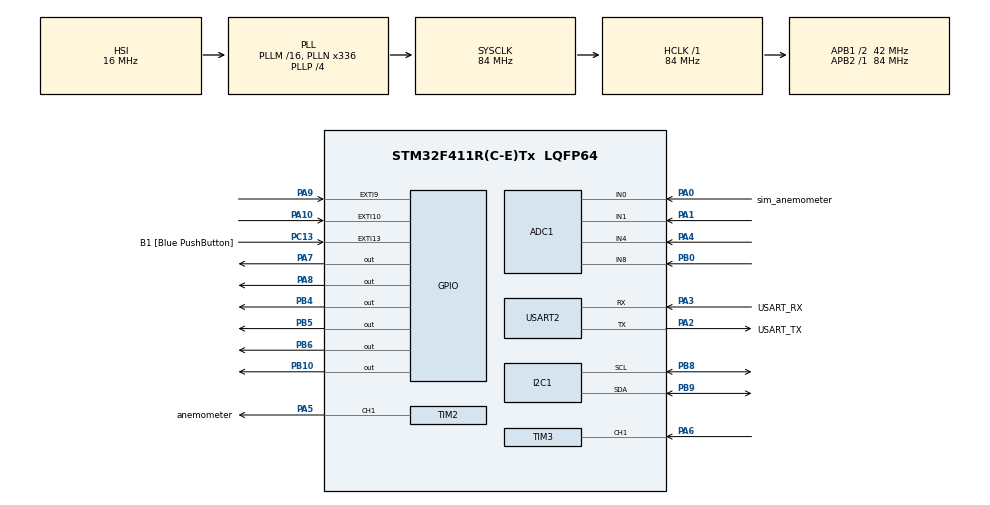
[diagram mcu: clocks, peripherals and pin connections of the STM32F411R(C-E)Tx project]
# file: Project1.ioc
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ADC1.Channel-0\#ChannelRegularConversion=ADC_CHANNEL_0
ADC1.Channel-1\#ChannelRegularConversion=ADC_CHANNEL_1
ADC1.Channel-2\#ChannelRegularConversion=ADC_CHANNEL_4
ADC1.Channel-3\#ChannelRegularConversion=ADC_CHANNEL_8
ADC1.ContinuousConvMode=ENABLE
ADC1.DMAContinuousRequests=ENABLE
ADC1.NbrOfConversion=4
ADC1.NbrOfConversionFlag=1
ADC1.Rank-0\#ChannelRegularConversion=1
ADC1.Rank-1\#ChannelRegularConversion=2
ADC1.Rank-2\#ChannelRegularConversion=3
ADC1.Rank-3\#ChannelRegularConversion=4
ADC1.SamplingTime-0\#ChannelRegularConversion=ADC_SAMPLETIME_3CYCLES
ADC1.SamplingTime-1\#ChannelRegularConversion=ADC_SAMPLETIME_3CYCLES
ADC1.SamplingTime-2\#ChannelRegularConversion=ADC_SAMPLETIME_3CYCLES
ADC1.SamplingTime-3\#ChannelRegularConversion=ADC_SAMPLETIME_3CYCLES
ADC1.ScanConvMode=ENABLE
ADC1.master=1
Dma.ADC1.0.Direction=DMA_PERIPH_TO_MEMORY
Dma.ADC1.0.FIFOMode=DMA_FIFOMODE_DISABLE
Dma.ADC1.0.Instance=DMA2_Stream0
Dma.ADC1.0.MemDataAlignment=DMA_MDATAALIGN_WORD
Dma.ADC1.0.MemInc=DMA_MINC_ENABLE
Dma.ADC1.0.Mode=DMA_CIRCULAR
Dma.ADC1.0.PeriphDataAlignment=DMA_PDATAALIGN_WORD
Dma.ADC1.0.PeriphInc=DMA_PINC_DISABLE
Dma.ADC1.0.Priority=DMA_PRIORITY_LOW
Dma.Request0=ADC1
Mcu.Family=STM32F4
Mcu.Name=STM32F411R(C-E)Tx
Mcu.Package=LQFP64
NVIC.ADC_IRQn=true\:0\:0\:false\:false\:true\:true\:true
NVIC.DMA2_Stream0_IRQn=true\:0\:0\:false\:false\:true\:false\:true
NVIC.EXTI15_10_IRQn=true\:0\:0\:false\:false\:true\:true\:true
NVIC.EXTI9_5_IRQn=true\:0\:0\:false\:false\:true\:true\:true
NVIC.I2C1_ER_IRQn=true\:0\:0\:false\:false\:true\:true\:true
NVIC.I2C1_EV_IRQn=true\:0\:0\:false\:false\:true\:true\:true
NVIC.PriorityGroup=NVIC_PRIORITYGROUP_0
NVIC.TIM2_IRQn=true\:0\:0\:false\:false\:true\:true\:true
NVIC.TIM3_IRQn=true\:0\:0\:false\:false\:true\:true\:true
PA0-WKUP.GPIO_Label=sim_anemometer
PA0-WKUP.Signal=ADCx_IN0
PA1.Signal=ADCx_IN1
PA10.Signal=GPXTI10
PA13.GPIO_Label=TMS
PA13.Mode=Serial_Wire
PA13.Signal=SYS_JTMS-SWDIO
PA14.GPIO_Label=TCK
PA14.Mode=Serial_Wire
PA14.Signal=SYS_JTCK-SWCLK
PA2.GPIO_Label=USART_TX
PA2.Mode=Asynchronous
PA2.Signal=USART2_TX
PA3.GPIO_Label=USART_RX
PA3.Mode=Asynchronous
PA3.Signal=USART2_RX
PA4.Signal=ADCx_IN4
PA5.GPIO_Label=anemometer
PA5.Signal=S_TIM2_CH1_ETR
PA6.Signal=S_TIM3_CH1
PA7.Signal=GPIO_Output
PA8.Signal=GPIO_Output
PA9.Signal=GPXTI9
PB0.Signal=ADCx_IN8
PB10.Signal=GPIO_Output
PB3.GPIO_Label=SWO
PB3.Signal=SYS_JTDO-SWO
PB4.Signal=GPIO_Output
PB5.Signal=GPIO_Output
PB6.Signal=GPIO_Output
PB8.Mode=I2C
PB8.Signal=I2C1_SCL
PB9.Mode=I2C
PB9.Signal=I2C1_SDA
PC13-ANTI_TAMP.GPIO_Label=B1 [Blue PushButton]
PC13-ANTI_TAMP.GPIO_ModeDefaultEXTI=GPIO_MODE_IT_FALLING
PC13-ANTI_TAMP.Signal=GPXTI13
PC14-OSC32_IN.Mode=LSE-External-Oscillator
PC14-OSC32_IN.Signal=RCC_OSC32_IN
PC15-OSC32_OUT.Mode=LSE-External-Oscillator
PC15-OSC32_OUT.Signal=RCC_OSC32_OUT
PH0\ -\ OSC_IN.Mode=HSE-External-Clock-Source
PH0\ -\ OSC_IN.Signal=RCC_OSC_IN
PH1\ -\ OSC_OUT.Mode=HSE-External-Clock-Source
PH1\ -\ OSC_OUT.Signal=RCC_OSC_OUT
ProjectManager.HeapSize=0x200
ProjectManager.StackSize=0x400
ProjectManager.TargetToolchain=Makefile
RCC.48MHZClocksFreq_Value=84000000
RCC.AHBFreq_Value=84000000
RCC.APB1CLKDivider=RCC_HCLK_DIV2
RCC.APB1Freq_Value=42000000
RCC.APB1TimFreq_Value=84000000
RCC.APB2Freq_Value=84000000
RCC.APB2TimFreq_Value=84000000
RCC.CortexFreq_Value=84000000
RCC.FLatency-AdvancedSettings=FLASH_LATENCY_2
RCC.HCLKFreq_Value=84000000
RCC.HSE_VALUE=8000000
RCC.HSI_VALUE=16000000
RCC.PLLN=336
RCC.PLLP=RCC_PLLP_DIV4
RCC.SYSCLKFreq_VALUE=84000000
RCC.SYSCLKSource=RCC_SYSCLKSOURCE_PLLCLK
RCC.VCOOutputFreq_Value=336000000
SH.ADCx_IN0.0=ADC1_IN0,IN0
SH.ADCx_IN1.0=ADC1_IN1,IN1
SH.ADCx_IN4.0=ADC1_IN4,IN4
SH.ADCx_IN8.0=ADC1_IN8,IN8
SH.S_TIM2_CH1_ETR.0=TIM2_CH1,PWM Generation1 CH1
SH.S_TIM3_CH1.0=TIM3_CH1,Input_Capture1_from_TI1
TIM2.Channel-PWM\ Generation1\ CH1=TIM_CHANNEL_1
TIM2.OCMode_PWM-PWM\ Generation1\ CH1=TIM_OCMODE_PWM1
TIM2.Period=2999
TIM2.Prescaler=1119
TIM2.Pulse-PWM\ Generation1\ CH1=75
TIM3.Channel-Input_Capture1_from_TI1=TIM_CHANNEL_1
USART2.VirtualMode=VM_ASYNC
board=NUCLEO-F411RE

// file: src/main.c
/* USER CODE BEGIN Header */
/**
  ******************************************************************************
  * @file           : main.c
  * @brief          : Main program body
  ******************************************************************************
  * @attention
  *
  * <h2><center>&copy; Copyright (c) 2020 STMicroelectronics.
  * All rights reserved.</center></h2>
  *
  * This software component is licensed by ST under BSD 3-Clause license,
  * the "License"; You may not use this file except in compliance with the
  * License. You may obtain a copy of the License at:
  *                        opensource.org/licenses/BSD-3-Clause
  *
  ******************************************************************************
  */
/* USER CODE END Header */

#include "main.h"
#include "rgb_lcd.h"
#include <string.h>
#include <stdlib.h>
#include <stdio.h>
#define THRESHOLD_TEMPERATURE 20
#define THRESHOLD_WIND 90
#define THRESHOLD_NOISE 60

#define MAX_ANGLE 1024
#define RGB (0x62<<1)
#define LCD (0x3E<<1)

ADC_HandleTypeDef hadc1;
DMA_HandleTypeDef hdma_adc1;

I2C_HandleTypeDef hi2c1;

TIM_HandleTypeDef htim2;
TIM_HandleTypeDef htim3;

UART_HandleTypeDef huart2;

/* USER CODE BEGIN PV */

int rain=0;
int onda=1 , status = 0 ;
long val1,val2,valortotal;
uint32_t adc[4], buffer[4];
int temperature,brightness,sound,speed;
float vsense = 5/4095;
/* USER CODE END PV */

void SystemClock_Config(void);
static void MX_GPIO_Init(void);
static void MX_DMA_Init(void);
static void MX_ADC1_Init(void);
static void MX_TIM2_Init(void);
static void MX_USART2_UART_Init(void);
static void MX_TIM3_Init(void);
static void MX_I2C1_Init(void);

/* USER CODE BEGIN 0 */
//codigo para el lcd
unsigned char _displayfunction;
unsigned char _displaycontrol;

/*This function is used to turn on the display on the LCD.  It sends the
hexadecimal code for the display on setting to the device in order to
turn on the display*/

void displayOn()
{
    _displaycontrol |= LCD_DISPLAYON;
    sendCommand(LCD_DISPLAYCONTROL | _displaycontrol);
}

/*This function is used to clear display on the LCD.  It sends the
hexadecimal code for the clear instruction to the device in order to
clear the display*/
void clear()
{
    sendCommand(LCD_CLEARDISPLAY);
    HAL_Delay(20);
}

/*This function is used to set the backlight color of the dispaly.
It writes the provided r, g, and b values to the registers for the red
value, the green value, and the blue value respectively.*/
void setRGB(unsigned char r, unsigned char g, unsigned char b)
{

    setReg(REG_RED, r);
    setReg(REG_GREEN, g);
    setReg(REG_BLUE, b);

}

/*This function is used to write to one of the registers for the backlight
of the LCD display.  The function takes in the address of which register to
write to and the value to be written to that register and then sends it to the
LCD display via the mbed I2C library*/
void setReg(unsigned char addr,unsigned char val)
{
    char data[2];
    data[0] = addr;
    data[1] = val;
    HAL_I2C_Master_Transmit(&hi2c1,RGB,&data,sizeof(data),100);
}

/*This function is used to write to the LCD screen.  It takes in a string of
characters and writes them to the 0x40 register of the display.*/
void print(char *str)
{
    char data[2];
    data[0] = 0x40;
    while(*str)
    {
      data[1] = *str;
      HAL_I2C_Master_Transmit(&hi2c1,LCD,&data,sizeof(data),100);
      str++;

    }

}

/*This function sets where on the screen the text will be written next.  It
takes in two values which indicate the row and column on the display that
the cursor should be moved to*/
void locate(char col, char row)
{
    if(row == 0)
    {
        col = col | 0x80;
    }
    else
    {
        col = col | 0xc0;
    }

    char data[2];
    data[0] = 0x80;
    data[1] = col;
    HAL_I2C_Master_Transmit(&hi2c1,LCD,&data,sizeof(data),100);
}

/*This function sends an instruction to the LCD display using the
 built in instruction codes from the device  datasheet using the mbed
 I2C library*/
void sendCommand(char value)
{
    char data[2] = {0x80, value};
    HAL_I2C_Master_Transmit(&hi2c1,LCD,&data,sizeof(data),100);
}

void init()
{
    //Initialize displayfunction parameter for setting up LCD display
   _displayfunction |= LCD_2LINE;
   _displayfunction |= LCD_5x10DOTS;

   //Wait for more than 30 ms after power rises above 4.5V per the data sheet
    HAL_Delay(5);

    // Send first function set command. Wait longer that 39 us per the data sheet
    sendCommand(LCD_FUNCTIONSET | _displayfunction);
    HAL_Delay(5);

    // turn the display on
    displayOn();

    // clear the display
    clear();

    // Initialize backlight
    setReg(0, 0);
    setReg(1, 0);
    setReg(0x08, 0xAA);

}
/* USER CODE END 0 */

int main(void)
{

  /* MCU Configuration--------------------------------------------------------*/

  /* Reset of all peripherals, Initializes the Flash interface and the Systick. */
  HAL_Init();

  /* Configure the system clock */
  SystemClock_Config();

  /* Initialize all configured peripherals */
  MX_GPIO_Init();
  MX_DMA_Init();
  MX_ADC1_Init();
  MX_TIM2_Init();
  MX_USART2_UART_Init();
  MX_TIM3_Init();
  MX_I2C1_Init();

  /* Infinite loop */

  HAL_TIM_PWM_Start(&htim2, TIM_CHANNEL_1);
  val2=htim3.Init.Period;

  init();
  setRGB(255,255,255);

  encederLeds(status); // transmitimos al lcd
  while (1)
  {
    HAL_ADC_Start_DMA(&hadc1, buffer, 4);
    HAL_TIM_IC_Start_IT(&htim3, TIM_CHANNEL_1);
    printf("ADC_VALUE es %d\n\r", adc[2]);
    printf("val1 %d\n\r", val1);
    printf("val2 %d\n\r", val2);
    printf("El valortotal es %d\n",valortotal);
    printf("Luminosidad %d\n\r", brightness);

    printf("Temperatura %d\n\r", temperature);
    printf("Sonido %d\n\r", sound);
    printf("Velocidad %d \n\r", speed);
    printf("\n");
    clear();
    imprimir_Lcd();
    HAL_NVIC_EnableIRQ(EXTI15_10_IRQn);
    HAL_Delay(5000);

    status=next_state();
    encederLeds(status);
  }
}

/*Esta función se utiliza para mostrar todas los datos
en el LCD, de 16x2*/
void imprimir_Lcd(){
  init();
  volatile char v[7] = "xV:";
  volatile char t[5]="xT:";
  volatile char s[7]="xS:";
  volatile char l[9]="xL:";

  char array[3];
  char arrayT[2];
  char arrayS[3];
  char arrayL[3];
  int numerosV=2;
  int numerosT= 0;
  int numerosS= 2;
  int numerosL=4;
  if (speed<10)
  numerosV=3;
  if (speed>99)
  numerosV = 1;
  if (temperature>=0 && temperature<10)
  numerosT=1;
  if (sound<10)
  numerosS=3;
  if (sound>99)
  numerosS = 1;
  if (brightness<10)
  numerosL=5;
  if (brightness>99)
  numerosL= 3;
  if (brightness>999)
  numerosL=2;
  if (brightness>9999)
  numerosL=1;
  locate(0,0);
  strcat(v, itoa(speed, array, 10));
  HAL_I2C_Master_Transmit(&hi2c1,LCD,v,sizeof(v)-numerosV,100);
  locate(6,0);
  strcat(t, itoa(temperature, arrayT, 10));
  HAL_I2C_Master_Transmit(&hi2c1,LCD,t,sizeof(t)-numerosT,100);
  locate(11,0);
  strcat(s, itoa(sound, arrayT, 10));
  HAL_I2C_Master_Transmit(&hi2c1,LCD,s,sizeof(s)-numerosS,100);
  locate(0,1);
  strcat(l, itoa(brightness, arrayL, 10));
  HAL_I2C_Master_Transmit(&hi2c1,LCD,l,sizeof(l)-numerosL,100);
  locate(9,1);
  strcat(l, itoa(brightness, arrayL, 10));
  if (rain!=1){
  volatile char p[9]="xLluv:No";
  HAL_I2C_Master_Transmit(&hi2c1,LCD,p,sizeof(p)-1,100);
  }
  else{
  volatile char p[9]="xLluv:Si";
  HAL_I2C_Master_Transmit(&hi2c1,LCD,p,sizeof(p)-1,100);
  rain=0;
  }

}

void SystemClock_Config(void)
{
  RCC_OscInitTypeDef RCC_OscInitStruct = {0};
  RCC_ClkInitTypeDef RCC_ClkInitStruct = {0};

  /** Configure the main internal regulator output voltage
  */
  __HAL_RCC_PWR_CLK_ENABLE();
  __HAL_PWR_VOLTAGESCALING_CONFIG(PWR_REGULATOR_VOLTAGE_SCALE1);
  /** Initializes the CPU, AHB and APB busses clocks
  */
  RCC_OscInitStruct.OscillatorType = RCC_OSCILLATORTYPE_HSI;
  RCC_OscInitStruct.HSIState = RCC_HSI_ON;
  RCC_OscInitStruct.HSICalibrationValue = RCC_HSICALIBRATION_DEFAULT;
  RCC_OscInitStruct.PLL.PLLState = RCC_PLL_ON;
  RCC_OscInitStruct.PLL.PLLSource = RCC_PLLSOURCE_HSI;
  RCC_OscInitStruct.PLL.PLLM = 16;
  RCC_OscInitStruct.PLL.PLLN = 336;
  RCC_OscInitStruct.PLL.PLLP = RCC_PLLP_DIV4;
  RCC_OscInitStruct.PLL.PLLQ = 4;
  if (HAL_RCC_OscConfig(&RCC_OscInitStruct) != HAL_OK)
  {
    Error_Handler();
  }
  /** Initializes the CPU, AHB and APB busses clocks
  */
  RCC_ClkInitStruct.ClockType = RCC_CLOCKTYPE_HCLK|RCC_CLOCKTYPE_SYSCLK
                              |RCC_CLOCKTYPE_PCLK1|RCC_CLOCKTYPE_PCLK2;
  RCC_ClkInitStruct.SYSCLKSource = RCC_SYSCLKSOURCE_PLLCLK;
  RCC_ClkInitStruct.AHBCLKDivider = RCC_SYSCLK_DIV1;
  RCC_ClkInitStruct.APB1CLKDivider = RCC_HCLK_DIV2;
  RCC_ClkInitStruct.APB2CLKDivider = RCC_HCLK_DIV1;

  if (HAL_RCC_ClockConfig(&RCC_ClkInitStruct, FLASH_LATENCY_2) != HAL_OK)
  {
    Error_Handler();
  }
}

static void MX_ADC1_Init(void)
{

  ADC_ChannelConfTypeDef sConfig = {0};

  /** Configure the global features of the ADC (Clock, Resolution, Data Alignment and number of conversion)
  */
  hadc1.Instance = ADC1;
  hadc1.Init.ClockPrescaler = ADC_CLOCK_SYNC_PCLK_DIV4;
  hadc1.Init.Resolution = ADC_RESOLUTION_10B;
  hadc1.Init.ScanConvMode = ENABLE;
  hadc1.Init.ContinuousConvMode = ENABLE;
  hadc1.Init.DiscontinuousConvMode = DISABLE;
  hadc1.Init.ExternalTrigConvEdge = ADC_EXTERNALTRIGCONVEDGE_NONE;
  hadc1.Init.ExternalTrigConv = ADC_SOFTWARE_START;
  hadc1.Init.DataAlign = ADC_DATAALIGN_RIGHT;
  hadc1.Init.NbrOfConversion = 4;
  hadc1.Init.DMAContinuousRequests = ENABLE;
  hadc1.Init.EOCSelection = ADC_EOC_SINGLE_CONV;
  if (HAL_ADC_Init(&hadc1) != HAL_OK)
  {
    Error_Handler();
  }
  /** Configure for the selected ADC regular channel its corresponding rank in the sequencer and its sample time.
  */
  sConfig.Channel = ADC_CHANNEL_0;
  sConfig.Rank = 1;
  sConfig.SamplingTime = ADC_SAMPLETIME_480CYCLES;
  if (HAL_ADC_ConfigChannel(&hadc1, &sConfig) != HAL_OK)
  {
    Error_Handler();
  }
  /** Configure for the selected ADC regular channel its corresponding rank in the sequencer and its sample time.
  */
  sConfig.Channel = ADC_CHANNEL_1;
  sConfig.Rank = 2;
  if (HAL_ADC_ConfigChannel(&hadc1, &sConfig) != HAL_OK)
  {
    Error_Handler();
  }
  /** Configure for the selected ADC regular channel its corresponding rank in the sequencer and its sample time.
  */
  sConfig.Channel = ADC_CHANNEL_4;
  sConfig.Rank = 3;
  if (HAL_ADC_ConfigChannel(&hadc1, &sConfig) != HAL_OK)
  {
    Error_Handler();
  }
  /** Configure for the selected ADC regular channel its corresponding rank in the sequencer and its sample time.
  */
  sConfig.Channel = ADC_CHANNEL_8;
  sConfig.Rank = 4;
  if (HAL_ADC_ConfigChannel(&hadc1, &sConfig) != HAL_OK)
  {
    Error_Handler();
  }

}

static void MX_I2C1_Init(void)
{

  hi2c1.Instance = I2C1;
  hi2c1.Init.ClockSpeed = 100000;
  hi2c1.Init.DutyCycle = I2C_DUTYCYCLE_2;
  hi2c1.Init.OwnAddress1 = 0;
  hi2c1.Init.AddressingMode = I2C_ADDRESSINGMODE_7BIT;
  hi2c1.Init.DualAddressMode = I2C_DUALADDRESS_DISABLE;
  hi2c1.Init.OwnAddress2 = 0;
  hi2c1.Init.GeneralCallMode = I2C_GENERALCALL_DISABLE;
  hi2c1.Init.NoStretchMode = I2C_NOSTRETCH_DISABLE;
  if (HAL_I2C_Init(&hi2c1) != HAL_OK)
  {
    Error_Handler();
  }

}

static void MX_TIM2_Init(void)
{

  TIM_MasterConfigTypeDef sMasterConfig = {0};
  TIM_OC_InitTypeDef sConfigOC = {0};

  htim2.Instance = TIM2;
  htim2.Init.Prescaler = 1119;
  htim2.Init.CounterMode = TIM_COUNTERMODE_UP;
  htim2.Init.Period = 2999;
  htim2.Init.ClockDivision = TIM_CLOCKDIVISION_DIV1;
  //htim2.Init.AutoReloadPreload = TIM_AUTORELOAD_PRELOAD_DISABLE;
  if (HAL_TIM_PWM_Init(&htim2) != HAL_OK)
  {
    Error_Handler();
  }
  sMasterConfig.MasterOutputTrigger = TIM_TRGO_RESET;
  sMasterConfig.MasterSlaveMode = TIM_MASTERSLAVEMODE_DISABLE;
  if (HAL_TIMEx_MasterConfigSynchronization(&htim2, &sMasterConfig) != HAL_OK)
  {
    Error_Handler();
  }
  sConfigOC.OCMode = TIM_OCMODE_PWM1;
  sConfigOC.Pulse = 75;
  sConfigOC.OCPolarity = TIM_OCPOLARITY_HIGH;
  sConfigOC.OCFastMode = TIM_OCFAST_DISABLE;
  if (HAL_TIM_PWM_ConfigChannel(&htim2, &sConfigOC, TIM_CHANNEL_1) != HAL_OK)
  {
    Error_Handler();
  }
  HAL_TIM_MspPostInit(&htim2);

}

static void MX_TIM3_Init(void)
{

  TIM_MasterConfigTypeDef sMasterConfig = {0};
  TIM_IC_InitTypeDef sConfigIC = {0};

  htim3.Instance = TIM3;
  htim3.Init.Prescaler = 1119;
  htim3.Init.CounterMode = TIM_COUNTERMODE_UP;
  htim3.Init.Period = 2999;
  htim3.Init.ClockDivision = TIM_CLOCKDIVISION_DIV1;
  //htim3.Init.AutoReloadPreload = TIM_AUTORELOAD_PRELOAD_DISABLE;
  if (HAL_TIM_IC_Init(&htim3) != HAL_OK)
  {
    Error_Handler();
  }
  sMasterConfig.MasterOutputTrigger = TIM_TRGO_RESET;
  sMasterConfig.MasterSlaveMode = TIM_MASTERSLAVEMODE_DISABLE;
  if (HAL_TIMEx_MasterConfigSynchronization(&htim3, &sMasterConfig) != HAL_OK)
  {
    Error_Handler();
  }
  sConfigIC.ICPolarity = TIM_INPUTCHANNELPOLARITY_BOTHEDGE;
  sConfigIC.ICSelection = TIM_ICSELECTION_DIRECTTI;
  sConfigIC.ICPrescaler = TIM_ICPSC_DIV1;
  sConfigIC.ICFilter = 0;
  if (HAL_TIM_IC_ConfigChannel(&htim3, &sConfigIC, TIM_CHANNEL_1) != HAL_OK)
  {
    Error_Handler();
  }

}

static void MX_USART2_UART_Init(void)
{

  huart2.Instance = USART2;
  huart2.Init.BaudRate = 115200;
  huart2.Init.WordLength = UART_WORDLENGTH_8B;
  huart2.Init.StopBits = UART_STOPBITS_1;
  huart2.Init.Parity = UART_PARITY_NONE;
  huart2.Init.Mode = UART_MODE_TX_RX;
  huart2.Init.HwFlowCtl = UART_HWCONTROL_NONE;
  huart2.Init.OverSampling = UART_OVERSAMPLING_16;
  if (HAL_UART_Init(&huart2) != HAL_OK)
  {
    Error_Handler();
  }

}

static void MX_DMA_Init(void)
{

  /* DMA controller clock enable */
  __HAL_RCC_DMA2_CLK_ENABLE();

  /* DMA interrupt init */
  /* DMA2_Stream0_IRQn interrupt configuration */
  HAL_NVIC_SetPriority(DMA2_Stream0_IRQn, 0, 0);
  HAL_NVIC_EnableIRQ(DMA2_Stream0_IRQn);

}

static void MX_GPIO_Init(void)
{
  GPIO_InitTypeDef GPIO_InitStruct = {0};

  /* GPIO Ports Clock Enable */
  __HAL_RCC_GPIOC_CLK_ENABLE();
  __HAL_RCC_GPIOH_CLK_ENABLE();
  __HAL_RCC_GPIOA_CLK_ENABLE();
  __HAL_RCC_GPIOB_CLK_ENABLE();

  /*Configure GPIO pin Output Level */
  HAL_GPIO_WritePin(GPIOA, GPIO_PIN_7|GPIO_PIN_8, GPIO_PIN_RESET);

  /*Configure GPIO pin Output Level */
  HAL_GPIO_WritePin(GPIOB, GPIO_PIN_10|GPIO_PIN_4|GPIO_PIN_5|GPIO_PIN_6, GPIO_PIN_RESET);

  /*Configure GPIO pin : B1_Pin */
  GPIO_InitStruct.Pin = B1_Pin;
  GPIO_InitStruct.Mode = GPIO_MODE_IT_FALLING;
  GPIO_InitStruct.Pull = GPIO_NOPULL;
  HAL_GPIO_Init(B1_GPIO_Port, &GPIO_InitStruct);

  /*Configure GPIO pins : PA7 PA8 */
  GPIO_InitStruct.Pin = GPIO_PIN_7|GPIO_PIN_8;
  GPIO_InitStruct.Mode = GPIO_MODE_OUTPUT_PP;
  GPIO_InitStruct.Pull = GPIO_NOPULL;
  GPIO_InitStruct.Speed = GPIO_SPEED_FREQ_LOW;
  HAL_GPIO_Init(GPIOA, &GPIO_InitStruct);

  /*Configure GPIO pins : PB10 PB4 PB5 PB6 */
  GPIO_InitStruct.Pin = GPIO_PIN_10|GPIO_PIN_4|GPIO_PIN_5|GPIO_PIN_6;
  GPIO_InitStruct.Mode = GPIO_MODE_OUTPUT_PP;
  GPIO_InitStruct.Pull = GPIO_NOPULL;
  GPIO_InitStruct.Speed = GPIO_SPEED_FREQ_LOW;
  HAL_GPIO_Init(GPIOB, &GPIO_InitStruct);

  /*Configure GPIO pins : PA9 PA10 */
  GPIO_InitStruct.Pin = GPIO_PIN_9|GPIO_PIN_10;
  GPIO_InitStruct.Mode = GPIO_MODE_IT_RISING;
  GPIO_InitStruct.Pull = GPIO_NOPULL;
  HAL_GPIO_Init(GPIOA, &GPIO_InitStruct);

  /* EXTI interrupt init*/
  HAL_NVIC_SetPriority(EXTI9_5_IRQn, 0, 0);
  HAL_NVIC_EnableIRQ(EXTI9_5_IRQn);

  HAL_NVIC_SetPriority(EXTI15_10_IRQn, 0, 0);
  HAL_NVIC_EnableIRQ(EXTI15_10_IRQn);

}

void Error_Handler(void)
{
}

/************************ (C) COPYRIGHT STMicroelectronics *****END OF FILE****/

void HAL_GPIO_EXTI_Callback(uint16_t GPIO_Pin)
{
  if(GPIO_Pin==GPIO_PIN_10){
    rain=1;
    printf("rain %i\n",rain);
    HAL_NVIC_DisableIRQ(EXTI15_10_IRQn);

  }
  /* Reseteando al estado Inicial*/
  if (GPIO_Pin==GPIO_PIN_9){

    encederLeds(0);

  }
}

void HAL_ADC_ConvCpltCallback(ADC_HandleTypeDef *hadc)
{
  if (hadc->Instance == hadc1.Instance)
  {
    for (int i = 0; i < 4; i++)
    {
      adc[i] = buffer[i];
      if (i == 0)
      {
        calcular_viento(i);
      }
      else if (i == 1)
      {
        calcular_sonido(i);
      }
      else if (i == 2)
      {
        calcular_luminosidad(i);
      }
      else if (i == 3)
      {
        calcular_temperatura(i);
      }
    }
  }
  HAL_ADC_Stop_DMA(&hadc1);

}
/*Estas funciones se utilizan para calcular el valor de
de cada dato,
Temperatura ºC
Viento Km/h
Sonido Db
Lumoinosidad Lux */

void calcular_temperatura(int i){
   float R=1023.0/adc[i]-1.0;

    temperature=1/(log(R)/4275+1/298.15)-273.15;
}
void calcular_luminosidad(int i){
  brightness = exp((float)adc[i]/54.46052);
}
void calcular_sonido(int i){
   if (adc[i]!=0 || adc[i]<0){
        sound= 20*log(adc[i]/100.0)+50;
  }
}
void calcular_viento(int i){
    htim2.Instance->CCR1 = 75 + (adc[i]*1425/MAX_ANGLE);
    speed = (valortotal - 75) * 0.1405;

}
/*Esta Función se utiliza para saber cual es nuestro siguiente estado */
int next_state(){

  if  (temperature > THRESHOLD_TEMPERATURE && sound <  THRESHOLD_NOISE && speed < THRESHOLD_WIND){
    return 1;
  }
  else if ((temperature < THRESHOLD_TEMPERATURE) && (sound >  THRESHOLD_NOISE) && (speed < THRESHOLD_WIND)){
   return 2;
  }
  else if (temperature < THRESHOLD_TEMPERATURE && sound < THRESHOLD_NOISE && speed> THRESHOLD_WIND){
     return 3;
  }
  else if  (temperature > THRESHOLD_TEMPERATURE && sound >  THRESHOLD_NOISE && speed < THRESHOLD_WIND){
    return 4;
  }
  else if(temperature > THRESHOLD_TEMPERATURE && sound <  THRESHOLD_NOISE && speed > THRESHOLD_WIND){
  return 5 ;
  }
  else if ((temperature < THRESHOLD_TEMPERATURE )&& (sound >  THRESHOLD_NOISE) && (speed > THRESHOLD_WIND)){
    return 6;
  } else if((temperature > THRESHOLD_TEMPERATURE )&& (sound >  THRESHOLD_NOISE) && (speed > THRESHOLD_WIND)){
      return 7 ;
  }

}
/*Esta función se utiliza para encender el led según el estado en el que estemos*/

void encederLeds(int caso)
{
  /* PB4 PA7 PA8 VERDES */
  /* PB5 PB6 PB10 ROJOS */

  switch (caso)
  {
  case 0:
    //reset
    //printf("case %i\n", caso);

    GPIOB->ODR |= GPIO_ODR_OD4_Msk;
    GPIOA->ODR |= GPIO_ODR_OD7_Msk;
    GPIOA->ODR |= GPIO_ODR_OD8_Msk;

    GPIOB->ODR &= ~GPIO_ODR_OD5_Msk;
    GPIOB->ODR &= ~GPIO_ODR_OD6_Msk;
    GPIOB->ODR &= ~GPIO_ODR_OD10_Msk;
    break;

  case 1:
    //temperatura se pasa
    //printf("case %i\n", caso);
    GPIOB->ODR |= GPIO_ODR_OD5_Msk;
    GPIOB->ODR &= ~GPIO_ODR_OD4_Msk;
    break;
  case 2:
    //sound se pasa
    //printf("case %i\n", caso);
    //printf("el sound en el case es %d\n",sound);

    GPIOB->ODR |= GPIO_ODR_OD10_Msk;
    GPIOA->ODR &= ~GPIO_ODR_OD8_Msk;
    break;
  case 3:
    //Viento se pasa
   // printf("case %i\n", caso);

    GPIOB->ODR |= GPIO_ODR_OD6_Msk;
    GPIOA->ODR &= ~GPIO_ODR_OD7_Msk;
    break;
  case 4:
    //temperatura se pasa sound se pasa
    //printf("case %i\n", caso);
    GPIOB->ODR |= GPIO_ODR_OD5_Msk;
    GPIOB->ODR &= ~GPIO_ODR_OD4_Msk;
    GPIOB->ODR |= GPIO_ODR_OD10_Msk;
    GPIOA->ODR &= ~GPIO_ODR_OD8_Msk;
    break;

  case 5:
    //Temperatura se pasa viento se pasa
    //printf("case %i\n", caso);
    GPIOB->ODR |= GPIO_ODR_OD5_Msk;
    GPIOB->ODR &= ~GPIO_ODR_OD4_Msk;
    GPIOB->ODR |= GPIO_ODR_OD6_Msk;
    GPIOA->ODR &= ~GPIO_ODR_OD7_Msk;

    break;
  case 6:
    //sound se pasa viento se pasa
    //printf("case %i\n", caso);

    GPIOB->ODR |= GPIO_ODR_OD6_Msk;
    GPIOB->ODR |= GPIO_ODR_OD10_Msk;
    GPIOA->ODR &= ~GPIO_ODR_OD7_Msk;
    GPIOA->ODR &= ~GPIO_ODR_OD8_Msk;
    break;
  case 7:
    //se pasan todos
    //printf("case %i\n", caso);
    GPIOB->ODR |= GPIO_ODR_OD5_Msk;
    GPIOB->ODR &= ~GPIO_ODR_OD4_Msk;
    GPIOB->ODR |= GPIO_ODR_OD10_Msk;
    GPIOA->ODR &= ~GPIO_ODR_OD8_Msk;
    GPIOB->ODR |= GPIO_ODR_OD6_Msk;
    GPIOA->ODR &= ~GPIO_ODR_OD7_Msk;

    break;
  }
}

void HAL_TIM_IC_CaptureCallback(TIM_HandleTypeDef *htim)
{

    if (onda == 1)
    {
      val1 = __HAL_TIM_GetCounter(htim);

      if (val1 < val2)
        valortotal = val2-val1;
      else
      {
        valortotal = val1 - val2;
        HAL_TIM_IC_Stop(&htim3, TIM_CHANNEL_1);
        //val1=__HAL_TIM_GetCounter(htim);
      }
      onda = 0;
    }
    else
    {
      val2 = __HAL_TIM_GetCounter(htim);
      onda = 1;
    }
}

int __io_putchar(int ch)
{
  uint8_t c[1];
  c[0] = ch & 0x00FF;
  HAL_UART_Transmit(&huart2, &*c, 1, 100);
  return ch;
}

int _write(int file,char *ptr, int len)
{
  int DataIdx;
  for(DataIdx= 0; DataIdx< len; DataIdx++)
  {
    __io_putchar(*ptr++);
  }
  return len;
}
